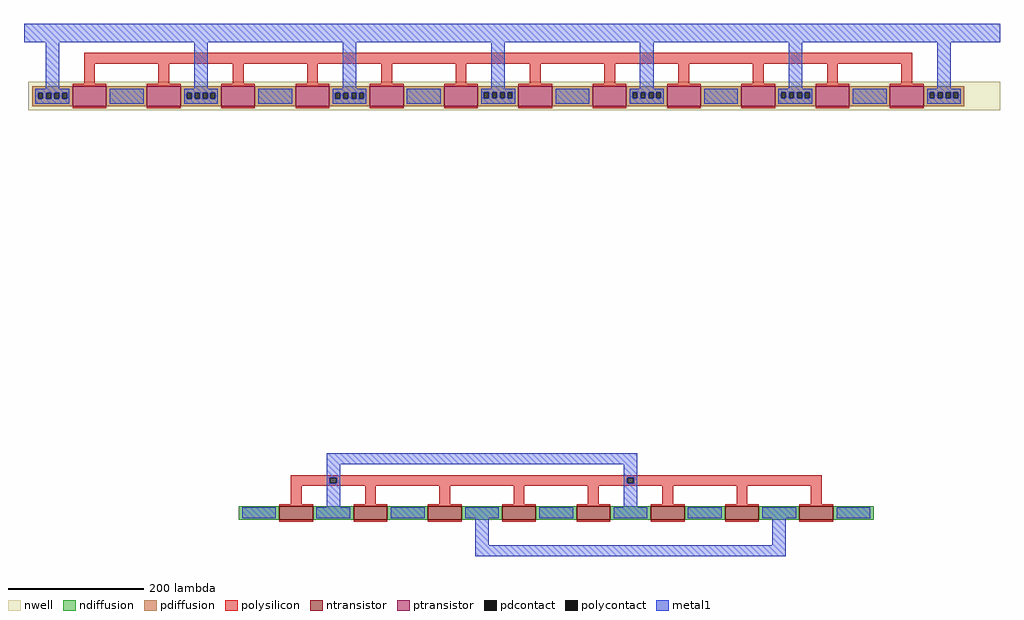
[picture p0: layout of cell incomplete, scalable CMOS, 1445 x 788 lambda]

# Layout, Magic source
magic
tech scmos
<< nwell >>
rect -11 0 1428 42
<< ntransistor >>
rect 361 -606 411 -586
rect 471 -606 521 -586
rect 581 -606 631 -586
rect 691 -606 741 -586
rect 801 -606 851 -586
rect 911 -606 961 -586
rect 1021 -606 1071 -586
rect 1131 -606 1181 -586
<< ptransistor >>
rect 55 6 105 36
rect 165 6 215 36
rect 275 6 325 36
rect 385 6 435 36
rect 495 6 545 36
rect 605 6 655 36
rect 715 6 765 36
rect 825 6 875 36
rect 935 6 985 36
rect 1045 6 1095 36
rect 1155 6 1205 36
rect 1265 6 1315 36
<< ndiffusion >>
rect 301 -606 361 -586
rect 411 -606 471 -586
rect 521 -606 581 -586
rect 631 -606 691 -586
rect 741 -606 801 -586
rect 851 -606 911 -586
rect 961 -606 1021 -586
rect 1071 -606 1131 -586
rect 1181 -606 1241 -586
<< pdiffusion >>
rect -5 26 55 36
rect -5 17 4 26
rect 11 17 16 26
rect 23 17 28 26
rect 35 17 40 26
rect 47 17 55 26
rect -5 6 55 17
rect 105 6 165 36
rect 215 26 275 36
rect 215 17 224 26
rect 231 17 236 26
rect 243 17 248 26
rect 255 17 259 26
rect 266 17 275 26
rect 215 6 275 17
rect 325 6 385 36
rect 435 26 495 36
rect 435 17 444 26
rect 451 17 456 26
rect 463 17 468 26
rect 475 17 479 26
rect 486 17 495 26
rect 435 6 495 17
rect 545 6 605 36
rect 655 27 715 36
rect 655 18 664 27
rect 671 18 676 27
rect 683 18 688 27
rect 695 18 699 27
rect 706 18 715 27
rect 655 6 715 18
rect 765 6 825 36
rect 875 27 935 36
rect 875 18 884 27
rect 891 18 896 27
rect 903 18 908 27
rect 915 18 919 27
rect 926 18 935 27
rect 875 6 935 18
rect 985 6 1045 36
rect 1095 27 1155 36
rect 1095 18 1104 27
rect 1111 18 1116 27
rect 1123 18 1128 27
rect 1135 18 1139 27
rect 1146 18 1155 27
rect 1095 6 1155 18
rect 1205 6 1265 36
rect 1315 27 1375 36
rect 1315 18 1324 27
rect 1331 18 1336 27
rect 1343 18 1348 27
rect 1355 18 1359 27
rect 1366 18 1375 27
rect 1315 6 1375 18
<< pdcontact >>
rect 4 17 11 26
rect 16 17 23 26
rect 28 17 35 26
rect 40 17 47 26
rect 224 17 231 26
rect 236 17 243 26
rect 248 17 255 26
rect 259 17 266 26
rect 444 17 451 26
rect 456 17 463 26
rect 468 17 475 26
rect 479 17 486 26
rect 664 18 671 27
rect 676 18 683 27
rect 688 18 695 27
rect 699 18 706 27
rect 884 18 891 27
rect 896 18 903 27
rect 908 18 915 27
rect 919 18 926 27
rect 1104 18 1111 27
rect 1116 18 1123 27
rect 1128 18 1135 27
rect 1139 18 1146 27
rect 1324 18 1331 27
rect 1336 18 1343 27
rect 1348 18 1355 27
rect 1359 18 1366 27
<< polysilicon >>
rect 72 69 1298 85
rect 72 39 88 69
rect 182 39 198 69
rect 292 39 308 69
rect 402 39 418 69
rect 512 39 528 69
rect 622 39 638 69
rect 732 39 748 69
rect 842 39 858 69
rect 952 39 968 69
rect 1062 39 1078 69
rect 1172 39 1188 69
rect 1282 39 1298 69
rect 55 36 105 39
rect 165 36 215 39
rect 275 36 325 39
rect 385 36 435 39
rect 495 36 545 39
rect 605 36 655 39
rect 715 36 765 39
rect 825 36 875 39
rect 935 36 985 39
rect 1045 36 1095 39
rect 1155 36 1205 39
rect 1265 36 1315 39
rect 55 3 105 6
rect 165 3 215 6
rect 275 3 325 6
rect 385 3 435 6
rect 495 3 545 6
rect 605 3 655 6
rect 715 3 765 6
rect 825 3 875 6
rect 935 3 985 6
rect 1045 3 1095 6
rect 1155 3 1205 6
rect 1265 3 1315 6
rect 378 -544 1164 -540
rect 378 -552 436 -544
rect 446 -552 876 -544
rect 886 -552 1164 -544
rect 378 -556 1164 -552
rect 378 -583 394 -556
rect 488 -583 504 -556
rect 598 -583 614 -556
rect 708 -583 724 -556
rect 818 -583 834 -556
rect 928 -583 944 -556
rect 1038 -583 1054 -556
rect 1148 -583 1164 -556
rect 361 -586 411 -583
rect 471 -586 521 -583
rect 581 -586 631 -583
rect 691 -586 741 -583
rect 801 -586 851 -583
rect 911 -586 961 -583
rect 1021 -586 1071 -583
rect 1131 -586 1181 -583
rect 361 -609 411 -606
rect 471 -609 521 -606
rect 581 -609 631 -606
rect 691 -609 741 -606
rect 801 -609 851 -606
rect 911 -609 961 -606
rect 1021 -609 1071 -606
rect 1131 -609 1181 -606
<< polycontact >>
rect 436 -552 446 -544
rect 876 -552 886 -544
<< metal1 >>
rect -17 101 1428 128
rect 15 32 35 101
rect 235 32 255 101
rect 455 32 475 101
rect 675 32 695 101
rect 895 32 915 101
rect 1115 32 1135 101
rect 1335 32 1355 101
rect 0 26 50 32
rect 0 17 4 26
rect 11 17 16 26
rect 23 17 28 26
rect 35 17 40 26
rect 47 17 50 26
rect 0 10 50 17
rect 110 10 160 32
rect 220 26 270 32
rect 220 17 224 26
rect 231 17 236 26
rect 243 17 248 26
rect 255 17 259 26
rect 266 17 270 26
rect 220 10 270 17
rect 330 10 380 32
rect 440 26 490 32
rect 440 17 444 26
rect 451 17 456 26
rect 463 17 468 26
rect 475 17 479 26
rect 486 17 490 26
rect 440 10 490 17
rect 550 10 600 32
rect 660 27 710 32
rect 660 18 664 27
rect 671 18 676 27
rect 683 18 688 27
rect 695 18 699 27
rect 706 18 710 27
rect 660 10 710 18
rect 770 10 820 32
rect 880 27 930 32
rect 880 18 884 27
rect 891 18 896 27
rect 903 18 908 27
rect 915 18 919 27
rect 926 18 930 27
rect 880 10 930 18
rect 990 10 1040 32
rect 1100 27 1150 32
rect 1100 18 1104 27
rect 1111 18 1116 27
rect 1123 18 1128 27
rect 1135 18 1139 27
rect 1146 18 1150 27
rect 1100 10 1150 18
rect 1210 10 1260 32
rect 1320 27 1370 32
rect 1320 18 1324 27
rect 1331 18 1336 27
rect 1343 18 1348 27
rect 1355 18 1359 27
rect 1366 18 1370 27
rect 1320 10 1370 18
rect 431 -524 891 -508
rect 431 -544 451 -524
rect 431 -552 436 -544
rect 446 -552 451 -544
rect 431 -588 451 -552
rect 871 -544 891 -524
rect 871 -552 876 -544
rect 886 -552 891 -544
rect 871 -588 891 -552
rect 306 -604 356 -588
rect 416 -604 466 -588
rect 526 -604 576 -588
rect 636 -604 686 -588
rect 746 -604 796 -588
rect 856 -604 906 -588
rect 966 -604 1016 -588
rect 1076 -604 1126 -588
rect 1186 -604 1236 -588
rect 651 -644 671 -604
rect 1091 -644 1111 -604
rect 651 -660 1111 -644
<< end >>
